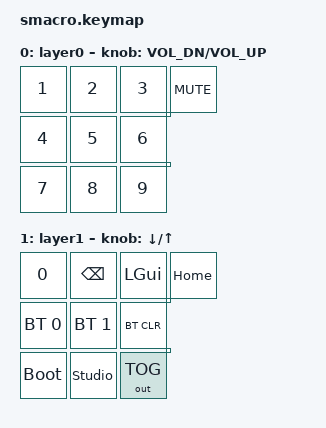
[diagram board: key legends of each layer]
#include <behaviors.dtsi>
#include <dt-bindings/zmk/keys.h>
#include <dt-bindings/zmk/bt.h>
#include <dt-bindings/zmk/outputs.h>

/ {
    combos {
        compatible = "zmk,combos";

        combo_l0 {
            timeout-ms = <50>;
            key-positions = <0 10>; // press 1 and 9
            bindings = <&to 0>;
            layers = <0 1>;
        };

        combo_l1 {
            timeout-ms = <50>;
            bindings = <&to 1>;
            key-positions = <1 10>; // press 2 and 9
            layers = <0 1>;
        };
    };
    
    keymap {
        compatible = "zmk,keymap";

        layer0 {
            bindings = <
            &kp N1 &kp N2 &kp N3 &kp C_MUTE
            &kp N4 &kp N5 &kp N6 &none
            &kp N7 &kp N8 &kp N9 &none
            >;

            sensor-bindings = <&inc_dec_kp C_VOL_DN C_VOL_UP>;
        };

        layer1 {
            bindings = <
            &kp N0       &kp BSPC       &kp LGUI     &kp HOME
            &bt BT_SEL 0 &bt BT_SEL 1   &bt BT_CLR   &none
            &bootloader  &studio_unlock &out OUT_TOG &none
            >;

            sensor-bindings = <&inc_dec_kp DOWN_ARROW UP_ARROW>;
        };
    };
};
